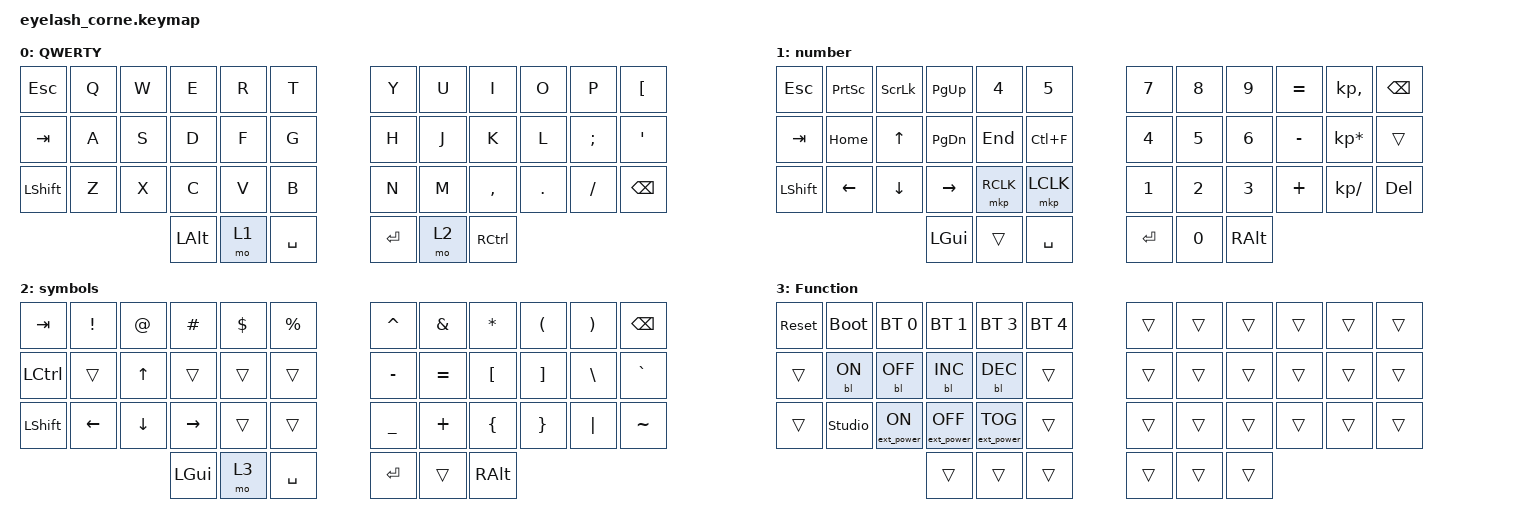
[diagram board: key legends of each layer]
#include <dt-bindings/zmk/mouse.h>
#include <input/processors.dtsi>
#include <behaviors.dtsi>
#include <dt-bindings/zmk/bt.h>
#include <dt-bindings/zmk/ext_power.h>
#include <dt-bindings/zmk/keys.h>
#include <dt-bindings/zmk/outputs.h>
#include <dt-bindings/zmk/pointing.h>
#include <dt-bindings/zmk/rgb.h>

/*

   &mmv_input_listener {
       input-processors = <&zip_xy_scaler 2 1>;
   };

   &msc_input_listener {
       input-processors = <&zip_xy_scaler 2 1>;
   };

 */

#define ZMK_MOUSE_DEFAULT_MOVE_VAL 1200  // 600
#define ZMK_MOUSE_DEFAULT_SCRL_VAL 20    // 10

/ {
    behaviors {
        td0: td0 {
            compatible = "zmk,behavior-tap-dance";
            display-name = "Shift/Caps Lock Tap Dance";
            #binding-cells = <0>;
            bindings = <&kp LEFT_SHIFT>, <&kp CAPS>;
        };

        hrm_left: hrm_left {
            compatible = "zmk,behavior-hold-tap";
            label = "HRM_LEFT";
            bindings = <&kp>, <&kp>;

            #binding-cells = <2>;
            flavor = "tap-preferred";
            tapping-term-ms = <250>;
            quick-tap-ms = <300>;
            require-prior-idle-ms = <150>;
            hold-trigger-on-release;
            hold-trigger-key-positions = <6 7 20 21 22 35 36 45 46 47 8 9 10 11 12 23 24 25 26 27 37 38 39 40 41 19 34 44 43 42>;
        };

        hrm_right: hrm_right {
            compatible = "zmk,behavior-hold-tap";
            label = "HRM_RIGHT";
            bindings = <&kp>, <&kp>;

            #binding-cells = <2>;
            flavor = "tap-preferred";
            tapping-term-ms = <250>;
            quick-tap-ms = <300>;
            require-prior-idle-ms = <150>;
            hold-trigger-on-release;
            hold-trigger-key-positions = <0 1 2 3 4 5 13 14 15 16 17 18 28 29 30 31 32 33 34 42 43 44 19 20 21 35 6 45 46 47>;
        };

        layer_tap: layer_tap {
            compatible = "zmk,behavior-hold-tap";
            label = "LAYER_TAP";
            bindings = <&mo>, <&kp>;

            #binding-cells = <2>;
            quick-tap-ms = <150>;
            flavor = "balanced";
            tapping-term-ms = <170>;
        };
    };

    rgb_encoder: rgb_encoder {
        compatible = "zmk,behavior-sensor-rotate";
        #sensor-binding-cells = <0>;
        bindings = <&rgb_ug RGB_BRI>, <&rgb_ug RGB_BRD>;
    };

    scroll_encoder: scroll_encoder {
        compatible = "zmk,behavior-sensor-rotate";
        #sensor-binding-cells = <0>;
        bindings = <&msc SCRL_DOWN>, <&msc SCRL_UP>;

        tap-ms = <30>;
    };

    keymap {
        compatible = "zmk,keymap";

        qwerty {
         display-name = "QWERTY";
            // -----------------------------------------------------------------------------------------
            // |  TAB |  Q  |  W  |  E  |  R  |  T  |   |  Y  |  U   |  I  |  O  |  P  | BSPC |
            // | CTRL |  A  |  S  |  D  |  F  |  G  |   |  H  |  J   |  K  |  L  |  ;  |  '   |
            // | SHFT |  Z  |  X  |  C  |  V  |  B  |   |  N  |  M   |  ,  |  .  |  /  | ESC  |
            //                    | GUI | LWR | SPC |   | ENT | RSE  | ALT |

            bindings = <
&kp ESCAPE  &kp Q  &kp W  &kp E         &kp R  &kp T        &kp Y    &kp U  &kp I      &kp O    &kp P      &kp LEFT_BRACKET
&kp TAB     &kp A  &kp S  &kp D         &kp F  &kp G        &kp H    &kp J  &kp K      &kp L    &kp SEMI   &kp SQT
&kp LSHFT   &kp Z  &kp X  &kp C         &kp V  &kp B        &kp N    &kp M  &kp COMMA  &kp DOT  &kp SLASH  &kp BACKSPACE
                          &kp LEFT_ALT  &mo 1  &kp SPACE    &kp RET  &mo 2  &kp RCTRL
            >;
        };

        number {
            display-name = "number";
            // -----------------------------------------------------------------------------------------
            // |  TAB |  1  |  2  |  3  |  4  |  5  |   |  6  |  7  |  8  |  9  |  0  | BSPC |
            // | BTCLR| BT1 | BT2 | BT3 | BT4 | BT5 |   | LFT | DWN |  UP | RGT |     |      |
            // | SHFT |     |     |     |     |     |   |     |     |     |     |     |      |
            //                    | GUI |     | SPC |   | ENT |     | ALT |

            bindings = <
&kp ESC    &kp PRINTSCREEN  &kp SCROLLLOCK  &kp PAGE_UP      &kp N4     &kp N5       &kp NUMBER_7  &kp NUMBER_8  &kp NUMBER_9  &kp EQUAL  &kp KP_COMMA     &kp BSPC
&kp TAB    &kp HOME         &kp UP_ARROW    &kp PAGE_DOWN    &kp END    &kp LC(F)    &kp NUMBER_4  &kp NUMBER_5  &kp NUMBER_6  &kp MINUS  &kp KP_MULTIPLY  &trans
&kp LSHFT  &kp LEFT_ARROW   &kp DOWN_ARROW  &kp RIGHT_ARROW  &mkp RCLK  &mkp LCLK    &kp NUMBER_1  &kp NUMBER_2  &kp NUMBER_3  &kp PLUS   &kp KP_DIVIDE    &kp DELETE
                                            &kp LGUI         &trans     &kp SPACE    &kp RET       &kp NUMBER_0  &kp RALT
            >;
        };

        symbols {
            display-name = "symbols";
            // -----------------------------------------------------------------------------------------
            // |  TAB |  !  |  @  |  #  |  $  |  %  |   |  ^  |  &  |  *  |  (  |  )  | BSPC |
            // | CTRL |     |     |     |     |     |   |  -  |  =  |  [  |  ]  |  \  |  `   |
            // | SHFT |     |     |     |     |     |   |  _  |  +  |  {  |  }  | "|" |  ~   |
            //                    | GUI |     | SPC |   | ENT |     | ALT |

            bindings = <
&kp TAB    &kp EXCL        &kp AT          &kp HASH         &kp DLLR  &kp PRCNT    &kp CARET  &kp AMPS   &kp ASTRK  &kp LPAR  &kp RPAR  &kp BSPC
&kp LCTRL  &trans          &kp UP_ARROW    &trans           &trans    &trans       &kp MINUS  &kp EQUAL  &kp LBKT   &kp RBKT  &kp BSLH  &kp GRAVE
&kp LSHFT  &kp LEFT_ARROW  &kp DOWN_ARROW  &kp RIGHT_ARROW  &trans    &trans       &kp UNDER  &kp PLUS   &kp LBRC   &kp RBRC  &kp PIPE  &kp TILDE
                                           &kp LGUI         &mo 3     &kp SPACE    &kp RET    &trans     &kp RALT
            >;
        };

        Function {
            bindings = <
&sys_reset  &bootloader     &bt BT_SEL 0      &bt BT_SEL 1       &bt BT_SEL 3       &bt BT_SEL 4    &trans  &trans  &trans  &trans  &trans  &trans
&trans      &bl BL_ON       &bl BL_OFF        &bl BL_INC         &bl BL_DEC         &trans          &trans  &trans  &trans  &trans  &trans  &trans
&trans      &studio_unlock  &ext_power EP_ON  &ext_power EP_OFF  &ext_power EP_TOG  &trans          &trans  &trans  &trans  &trans  &trans  &trans
                                              &trans             &trans             &trans          &trans  &trans  &trans
            >;
        };
    };
};
